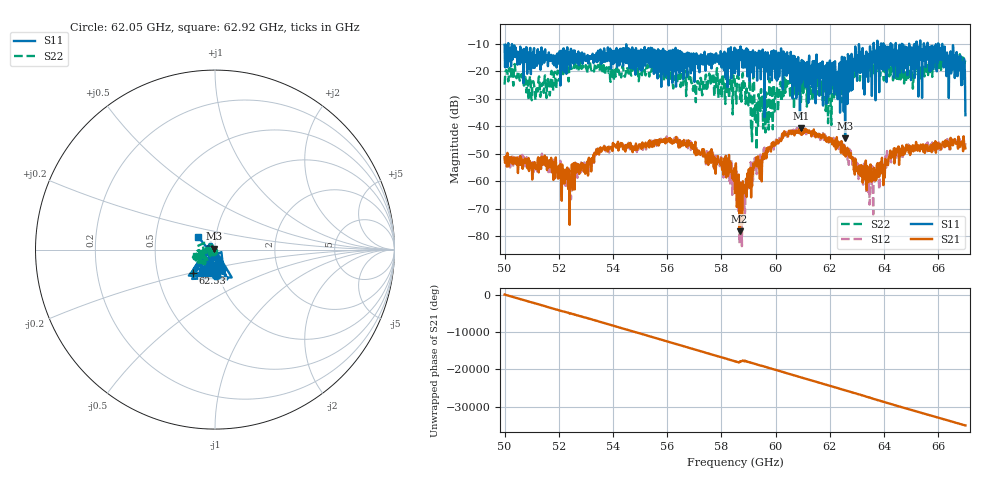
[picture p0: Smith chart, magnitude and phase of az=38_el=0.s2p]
!Created with skrf (http://scikit-rf.org).
# GHz S RI R 50.0
!freq ReS11 ImS11 ReS21 ImS21 ReS12 ImS12 ReS22 ImS22
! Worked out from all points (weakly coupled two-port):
!   1001 points, 50 GHz to 67 GHz, reference 50 ohm
!   highest |S21| = -40.69 dB at 60.95 GHz (marker M1); lowest = -78.3 dB at 58.67 GHz (marker M2)
!   lowest |S11| = -44.4 dB at 62.56 GHz (marker M3), VSWR 1.01, Z = 49.7 + j0.53 ohm
!   |S11| at or under -10 dB: 50.14 GHz to 63.62 GHz (13.48 GHz wide, 23.7 % of centre); 64.43 GHz to 64.93 GHz (492.3 MHz wide, 0.761 % of centre); 66 GHz to end of sweep (the widest 3 of 14)
!   |S22| runs from -48.7 to -13.8 dB; largest |S21 - S12| = 0.0023
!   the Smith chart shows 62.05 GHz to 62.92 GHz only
!   S11 on the Smith chart (normalised r, x): 62.05 GHz: 0.98, -0.28; 62.53 GHz: 0.76, -0.21; 62.92 GHz: 0.82, +0.12
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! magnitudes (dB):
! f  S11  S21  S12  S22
! 50 GHz  -10.4  -51.3  -51.3  -24.9
! 51.07 GHz  -12.4  -55.0  -56.7  -24.0
! 52.43 GHz  -14.6  -62.1  -58.2  -17.3
! 52.84 GHz  -14.4  -53.5  -54.3  -19.1
! 53.59 GHz  -12.8  -48.1  -48.5  -18.9
! 55.68 GHz  -13.7  -47.0  -46.6  -22.2
! 56.82 GHz  -18.3  -46.7  -47.6  -22.8
! 58.5 GHz  -20.7  -64.4  -59.5  -24.3
! 58.67 GHz  -14.0  -78.3  -82.8  -28.2
! 59.66 GHz  -13.9  -51.7  -50.4  -27.7
! 60.39 GHz  -15.3  -43.1  -42.1  -23.3
! 60.95 GHz  -24.2  -40.7  -41.2  -28.7
! 61.34 GHz  -25.8  -41.9  -42.1  -26.4
! 62.05 GHz  -17.1  -44.7  -44.8  -39.6
! 62.53 GHz  -14.9  -47.0  -46.8  -18.3
! 62.56 GHz  -44.4  -49.1  -47.9  -20.4
! 62.92 GHz  -18.7  -57.6  -54.4  -18.9
! 63.55 GHz  -29.0  -58.6  -61.4  -15.9
! 64.18 GHz  -18.7  -51.2  -50.7  -18.1
! 66.08 GHz  -15.6  -47.2  -45.7  -15.3
! 66.9 GHz  -16.8  -46.5  -46.5  -14.9
! 67 GHz  -36.0  -48.1  -46.1  -16.0
